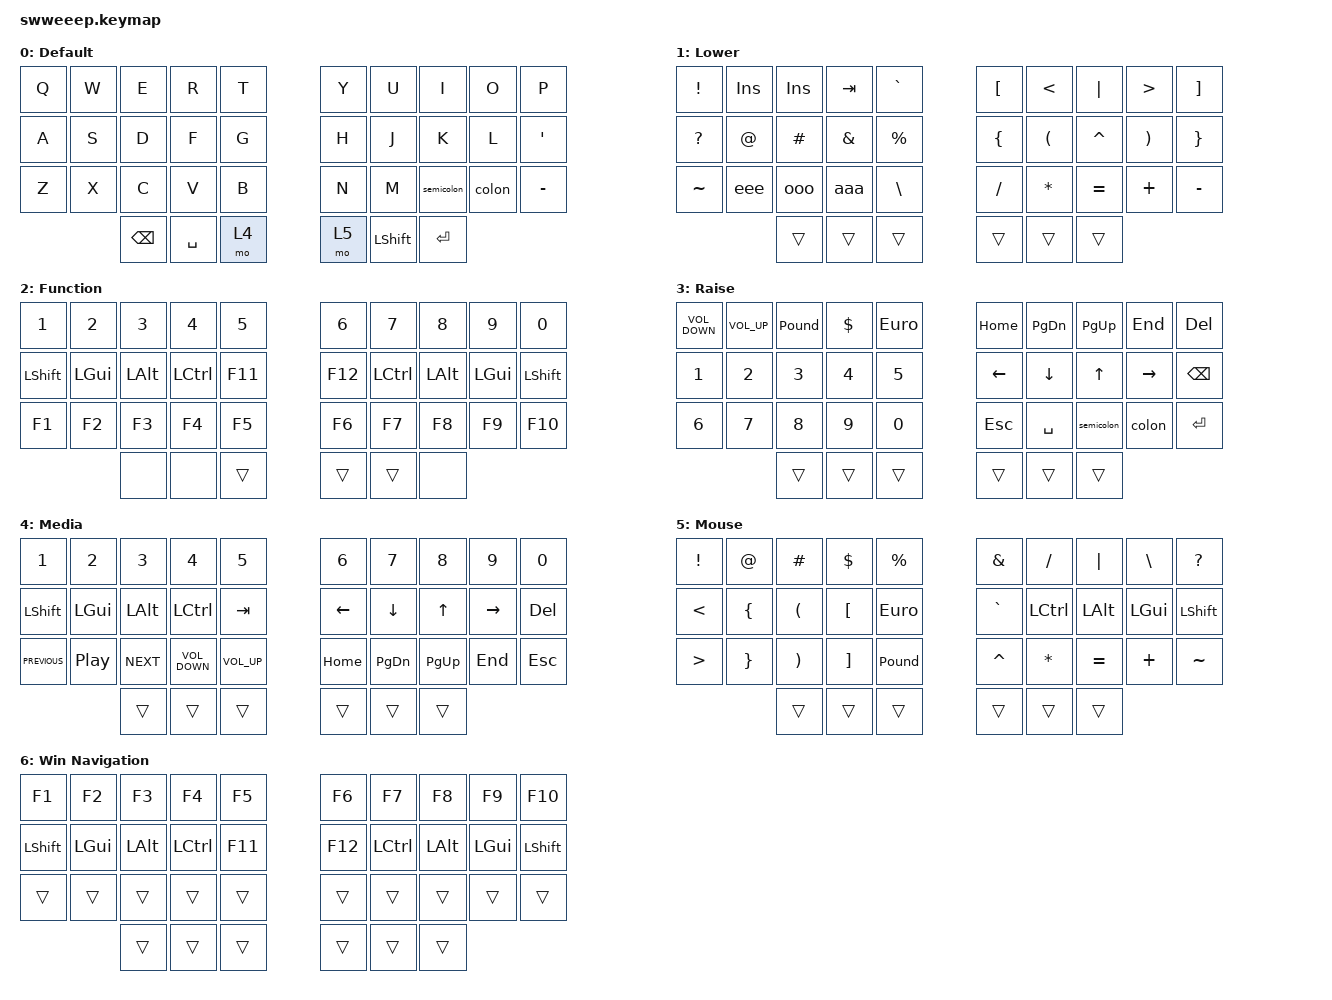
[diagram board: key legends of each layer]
#include <behaviors.dtsi>
#include <dt-bindings/zmk/keys.h>

#define DEFAULT 0
#define NAV     1
#define SYM     2
#define FUNC    3
#define MEDIA   4
#define MOUSE   5
#define WINNAV  6

/ {
    combos {
        compatible = "zmk,combos";
    };
};

/ {
    behaviors {
        semicolon: semicolon {
            compatible = "zmk,behavior-mod-morph";
            label = "SEMICOLON";
            bindings =
                <&kp COMMA>,
                <&kp SEMICOLON>;

            #binding-cells = <0>;
            mods = <(MOD_LSFT)>;
        };
        colon: colon {
            compatible = "zmk,behavior-mod-morph";
            label = "COLON";
            bindings =
                <&kp PERIOD>,
                <&kp COLON>;

            #binding-cells = <0>;
            mods = <(MOD_LSFT)>;
        };
        space_windows: space_windows {
            compatible = "zmk,behavior-mod-morph";
            label = "SPACE_WINDOWS";
            bindings =
                <&kp SPACE>,
                <&kp LEFT_WIN>;

            #binding-cells = <0>;
            mods = <(MOD_LSFT)>;
        };
    };

    macros {
        Pound: Pound {
            compatible = "zmk,behavior-macro";
            label = "POUND";
            #binding-cells = <0>;
            bindings = <&none>;
        };
        Euro: Euro {
            compatible = "zmk,behavior-macro";
            label = "EURO";
            #binding-cells = <0>;
            bindings = <&none>;
        };
        eee: eee {
            compatible = "zmk,behavior-macro";
            label = "EEE";
            #binding-cells = <0>;
            bindings = <&none>;
        };
        ooo: ooo {
            compatible = "zmk,behavior-macro";
            label = "OOO";
            #binding-cells = <0>;
            bindings = <&none>;
        };
        aaa: aaa {
            compatible = "zmk,behavior-macro";
            label = "AAA";
            #binding-cells = <0>;
            bindings = <&none>;
        };
    };

    keymap {
        compatible = "zmk,keymap";

        default_layer {
            label = "Default";
            bindings = <
&kp Q  &kp W  &kp E  &kp R          &kp T             &kp Y  &kp U           &kp I       &kp O   &kp P
&kp A  &kp S  &kp D  &kp F          &kp G             &kp H  &kp J           &kp K       &kp L   &kp SINGLE_QUOTE
&kp Z  &kp X  &kp C  &kp V          &kp B             &kp N  &kp M           &semicolon  &colon  &kp MINUS
                     &kp BACKSPACE  &kp SPACE  &mo 4  &mo 5  &kp LEFT_SHIFT  &kp ENTER
            >;
        };

        lower_layer {
            label = "Lower";
            bindings = <
&kp EXCL      &kp INSERT  &kp INSERT  &kp TAB        &kp GRAVE              &kp LEFT_BRACKET  &kp LESS_THAN         &kp PIPE   &kp GREATER_THAN       &kp RIGHT_BRACKET
&kp QUESTION  &kp AT      &kp HASH    &kp AMPERSAND  &kp PERCENT            &kp LEFT_BRACE    &kp LEFT_PARENTHESIS  &kp CARET  &kp RIGHT_PARENTHESIS  &kp RIGHT_BRACE
&kp TILDE     &eee        &ooo        &aaa           &kp BACKSLASH          &kp SLASH         &kp ASTERISK          &kp EQUAL  &kp PLUS               &kp MINUS
                                      &trans         &trans         &trans  &trans            &trans                &trans
            >;
        };

        func_layer {
            label = "Function";
            bindings = <
&kp N1     &kp N2    &kp N3    &kp N4     &kp N5           &kp N6   &kp N7     &kp N8    &kp N9    &kp N0
&kp LSHFT  &kp LGUI  &kp LALT  &kp LCTRL  &kp F11          &kp F12  &kp LCTRL  &kp LALT  &kp LGUI  &kp LSHFT
&kp F1     &kp F2    &kp F3    &kp F4     &kp F5           &kp F6   &kp F7     &kp F8    &kp F9    &kp F10
                               &none      &none    &trans  &trans   &trans     &none
            >;
        };

        raise_layer {
            label = "Raise";
            bindings = <
&kp C_VOLUME_DOWN  &kp C_VOLUME_UP  &Pound  &kp DOLLAR  &Euro           &kp HOME    &kp PAGE_DOWN  &kp PAGE_UP  &kp END    &kp DELETE
&kp N1             &kp N2           &kp N3  &kp N4      &kp N5          &kp LEFT    &kp DOWN       &kp UP       &kp RIGHT  &kp BACKSPACE
&kp N6             &kp N7           &kp N8  &kp N9      &kp N0          &kp ESCAPE  &kp SPACE      &semicolon   &colon     &kp ENTER
                                            &trans      &trans  &trans  &trans      &trans         &trans
            >;
        };

        media_layer {
            label = "Media";
            bindings = <
&kp N1          &kp N2            &kp N3      &kp N4             &kp N5                   &kp N6    &kp N7         &kp N8       &kp N9     &kp N0
&kp LEFT_SHIFT  &kp LGUI          &kp LALT    &kp LCTRL          &kp TAB                  &kp LEFT  &kp DOWN       &kp UP       &kp RIGHT  &kp DELETE
&kp C_PREVIOUS  &kp C_PLAY_PAUSE  &kp C_NEXT  &kp C_VOLUME_DOWN  &kp C_VOLUME_UP          &kp HOME  &kp PAGE_DOWN  &kp PAGE_UP  &kp END    &kp ESCAPE
                                              &trans             &trans           &trans  &trans    &trans         &trans
            >;
        };

        mouse_layer {
            label = "Mouse";
            bindings = <
&kp EXCLAMATION   &kp AT           &kp HASH               &kp DOLLAR         &kp PERCENT          &kp AMPERSAND  &kp SLASH     &kp PIPE   &kp BACKSLASH  &kp QUESTION
&kp LESS_THAN     &kp LEFT_BRACE   &kp LEFT_PARENTHESIS   &kp LEFT_BRACKET   &Euro                &kp GRAVE      &kp LCTRL     &kp LALT   &kp LGUI       &kp LSHFT
&kp GREATER_THAN  &kp RIGHT_BRACE  &kp RIGHT_PARENTHESIS  &kp RIGHT_BRACKET  &Pound               &kp CARET      &kp ASTERISK  &kp EQUAL  &kp PLUS       &kp TILDE
                                                          &trans             &trans       &trans  &trans         &trans        &trans
            >;
        };

        winnav_layer {
            label = "Win Navigation";
            bindings = <
&kp F1     &kp F2    &kp F3    &kp F4     &kp F5           &kp F6   &kp F7     &kp F8    &kp F9    &kp F10
&kp LSHFT  &kp LGUI  &kp LALT  &kp LCTRL  &kp F11          &kp F12  &kp LCTRL  &kp LALT  &kp LGUI  &kp LSHFT
&trans     &trans    &trans    &trans     &trans           &trans   &trans     &trans    &trans    &trans
                               &trans     &trans   &trans  &trans   &trans     &trans
            >;
        };
    };
};
